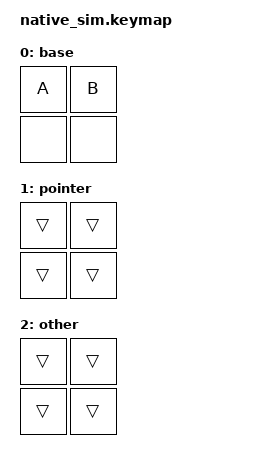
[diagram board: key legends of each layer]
/*
 * Copyright (c) 2026 amgskobo
 * SPDX-License-Identifier: MIT
 *
 * One instance of each processor with its settings published, for the settings
 * self-tests, plus two scalers that share a node name under different parents:
 * the collision the boot-time duplicate check exists to report.
 */

#include <behaviors.dtsi>
#include <physical_layouts.dtsi>
#include <dt-bindings/zmk/keys.h>
#include <dt-bindings/zmk/kscan_mock.h>
#include <dt-bindings/zmk/matrix_transform.h>
#include <zephyr/dt-bindings/input/input-event-codes.h>

/ {
    physical_layout {
        compatible = "zmk,physical-layout";
        display-name = "Test";
        transform = <&transform>;
        keys = <&key_physical_attrs 100 100 0 0 0 0 0>,
               <&key_physical_attrs 100 100 100 0 0 0 0>,
               <&key_physical_attrs 100 100 0 100 0 0 0>,
               <&key_physical_attrs 100 100 100 100 0 0 0>;
    };

    transform: transform {
        compatible = "zmk,matrix-transform";
        rows = <2>;
        columns = <2>;
        map = <RC(0,0) RC(0,1) RC(1,0) RC(1,1)>;
    };

    keymap {
        compatible = "zmk,keymap";

        base {
            bindings = <&kp A &kp B &none &none>;
        };

        pointer {
            bindings = <&trans &trans &trans &trans>;
        };

        other {
            bindings = <&trans &trans &trans &trans>;
        };
    };

    rt_scale: rt_scale {
        compatible = "zmk,input-processor-runtime-scaler";
        #input-processor-cells = <0>;
        codes = <INPUT_REL_X INPUT_REL_Y>;
        multiplier = <889>;
        divisor = <500>;
    };

    rt_xform: rt_xform {
        compatible = "zmk,input-processor-runtime-transform";
        #input-processor-cells = <0>;
        x-codes = <INPUT_REL_X>;
        y-codes = <INPUT_REL_Y>;
        x-invert;
    };

    rt_map: rt_map {
        compatible = "zmk,input-processor-runtime-code-mapper";
        #input-processor-cells = <0>;
        map = <INPUT_REL_Y INPUT_REL_WHEEL>;
        start-disabled;
    };

    rt_layer: rt_layer {
        compatible = "zmk,input-processor-runtime-temp-layer";
        #input-processor-cells = <0>;
        layer = <1>;
        timeout-ms = <200>;
        require-prior-idle-ms = <30>;
        excluded-positions = <1>;
    };

    rt_layer_peer: rt_layer_peer {
        compatible = "zmk,input-processor-runtime-temp-layer";
        #input-processor-cells = <0>;
        layer = <2>;
        timeout-ms = <200>;
    };

    rt_twin {
        compatible = "zmk,input-processor-runtime-scaler";
        #input-processor-cells = <0>;
        codes = <INPUT_REL_X>;
        multiplier = <1>;
        divisor = <1>;
    };

    twins {
        rt_twin {
            compatible = "zmk,input-processor-runtime-scaler";
            #input-processor-cells = <0>;
            codes = <INPUT_REL_X>;
            multiplier = <2>;
            divisor = <1>;
        };
    };
};

/* Nothing is scanned. The one event ends the process if the tests ever hang. */
&kscan {
    events = <ZMK_MOCK_PRESS(1,1,30000) ZMK_MOCK_RELEASE(1,1,10)>;
};
